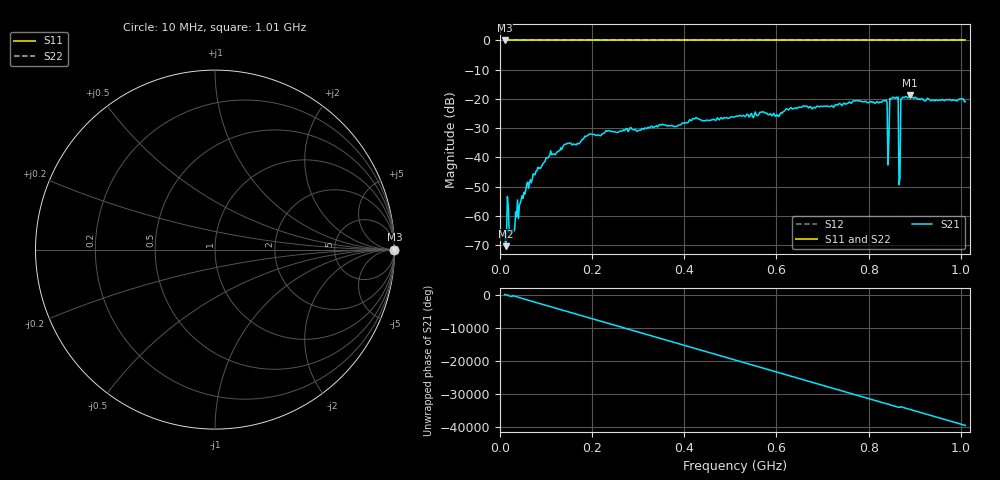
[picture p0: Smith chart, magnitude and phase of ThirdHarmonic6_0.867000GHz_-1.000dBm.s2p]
! 8/16/2025 4:38:42 AM
! C:\ANRITSUVNA\TEMP\TEMP.S2P
! CHANNEL.1
! TR.MEASUREMENT
! RAW.DATA
! RF.CORRECTION.OFF
! AVERAGING.OFF
! IF.BANDWIDTH: 5KHZ
! SWEEPTYPE:  FREQ.SWEEP(Linear)
! Reference Plane Port Info
! PORT:  PORT1  PORT2
! DISTANCE:  0  m  0  m
! TIME:  0  s  0  s
! PHASE.OFFSET:  0  deg.  0  deg.
! LOSS:  0  dB  0  dB
! REF.LOSS:  0  dB  0  dB
! REF.FREQ:  0  Hz  0  Hz
! Power Info
! POWER:  -20  dBm  -20  dBm
! EFF.POWER:  -20  dBm  -20  dBm
! SOURCE.ATTEN:  0  dB  0  dB
! TEST.ATTEN:  0  dB  0  dB
# GHZ S RI R 50.0
! FREQ.GHZ  S11RE  S11IM  S21RE  S21IM  S12RE  S12IM  S22RE  S22IM
!; PortSelection: Port_12
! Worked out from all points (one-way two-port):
!   501 points, 10 MHz to 1.01 GHz, reference 50 ohm
!   highest |S21| = -18.78 dB at 890 MHz (marker M1); lowest = -70.3 dB at 12 MHz (marker M2)
!   lowest |S11| = 0.0 dB at 10 MHz (marker M3)
!   |S11| at or under -10 dB: nowhere
!   |S22| runs from 0.0 to 0.0 dB; largest |S21 - S12| = 1.1
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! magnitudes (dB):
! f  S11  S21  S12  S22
! 10 MHz  0.0  -65.1  0.0  0.0
! 12 MHz  0.0  -70.3  0.0  0.0
! 20 MHz  0.0  -65.6  0.0  0.0
! 28 MHz  0.0  -64.6  0.0  0.0
! 56 MHz  0.0  -51.1  0.0  0.0
! 106 MHz  0.0  -39.6  0.0  0.0
! 178 MHz  0.0  -33.9  0.0  0.0
! 344 MHz  0.0  -29.1  0.0  0.0
! 510 MHz  0.0  -26.1  0.0  0.0
! 678 MHz  0.0  -23.4  0.0  0.0
! 834 MHz  0.0  -20.7  0.0  0.0
! 836 MHz  0.0  -20.7  0.0  0.0
! 840 MHz  0.0  -21.1  0.0  0.0
! 844 MHz  0.0  -33.5  0.0  0.0
! 846 MHz  0.0  -19.8  0.0  0.0
! 850 MHz  0.0  -19.9  0.0  0.0
! 860 MHz  0.0  -19.3  0.0  0.0
! 864 MHz  0.0  -19.4  0.0  0.0
! 870 MHz  0.0  -20.1  0.0  0.0
! 874 MHz  0.0  -19.4  0.0  0.0
! 890 MHz  0.0  -18.8  0.0  0.0
! 1.01 GHz  0.0  -20.9  0.0  0.0
